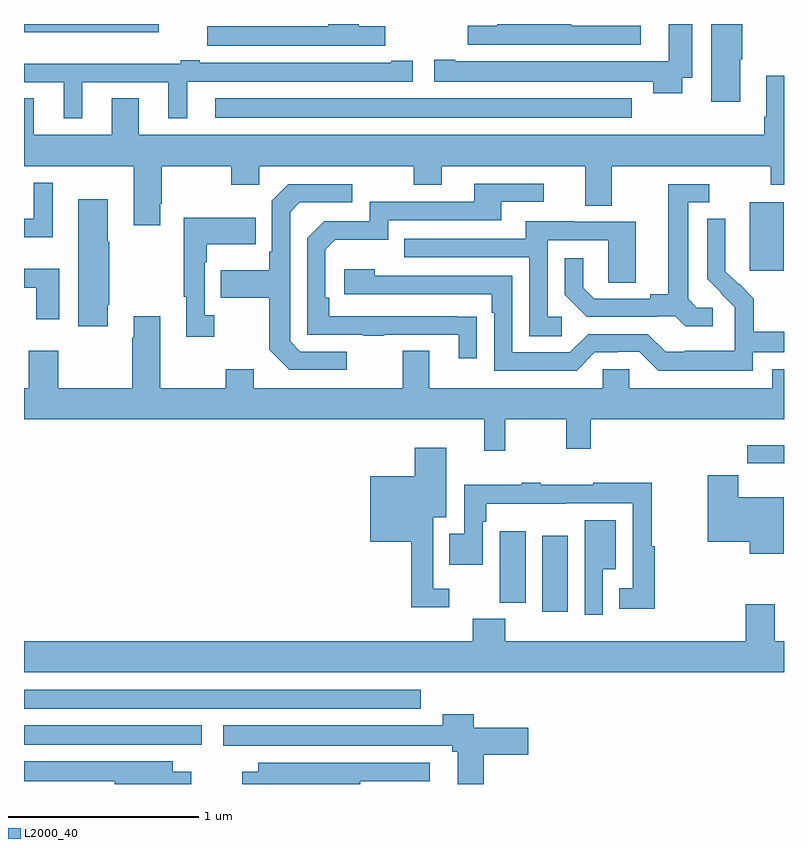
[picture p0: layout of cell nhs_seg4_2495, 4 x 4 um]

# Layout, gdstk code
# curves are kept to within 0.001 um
import gdstk
lib = gdstk.Library(unit=1e-6, precision=1e-09)
def R(c, l, rs):  # rectangles x0, y0, x1, y1
    for r in rs: c.add(gdstk.rectangle(r[:2], r[2:], *l))
def P(c, l, *ps):  # polygons
    for p in ps: c.add(gdstk.Polygon(p, *l))
L2000_40 = (2000, 40)

nhs_seg4_2495 = lib.new_cell('nhs_seg4_2495')
R(nhs_seg4_2495, L2000_40, [(241,795.107,241.936,795.208), (241,795.296,243.088,795.397), (243.728,795.807,243.862,796.207), (243.503,795.854,243.64,796.231), (244.82,797.601,244.999,797.962), (242.007,798.407,244.198,798.508), (241,798.857,241.708,798.9)])
P(nhs_seg4_2495, L2000_40, [(244.465,798.617),(244.516,798.617),(244.516,798.9),(244.394,798.9),(244.394,798.703),(243.271,798.703),(243.271,798.711),(243.159,798.711),(243.159,798.596),(244.313,798.596),(244.313,798.536),(244.465,798.536)],
  [(244.771,798.715),(244.779,798.715),(244.779,798.9),(244.616,798.9),(244.616,798.492),(244.771,798.492)],
  [(244.246,798.891),(243.881,798.891),(243.881,798.9),(243.492,798.9),(243.492,798.891),(243.336,798.891),(243.336,798.792),(244.246,798.792)],
  [(242.902,798.889),(242.762,798.889),(242.762,798.9),(242.6,798.9),(242.6,798.889),(241.965,798.889),(241.965,798.785),(242.902,798.785)],
  [(241.306,798.594),(241.76,798.594),(241.76,798.405),(241.858,798.405),(241.858,798.596),(243.046,798.596),(243.046,798.707),(242.933,798.707),(242.933,798.697),(241.924,798.697),(241.924,798.71),(241.824,798.71),(241.824,798.691),(241,798.691),(241,798.594),(241.208,798.594),(241.208,798.405),(241.306,798.405)],
  [(241.717,797.953),(241.725,797.953),(241.725,798.152),(242.092,798.152),(242.092,798.053),(242.238,798.053),(242.238,798.152),(243.052,798.152),(243.052,798.053),(243.199,798.053),(243.199,798.152),(243.953,798.152),(243.953,797.944),(244.093,797.944),(244.093,798.152),(244.93,798.152),(244.93,798.053),(245,798.053),(245,798.628),(244.907,798.628),(244.907,798.412),(244.895,798.412),(244.895,798.316),(241.603,798.316),(241.603,798.509),(241.463,798.509),(241.463,798.316),(241.051,798.316),(241.051,798.509),(241,798.509),(241,798.152),(241.577,798.152),(241.577,797.841),(241.717,797.841)],
  [(241.15,798.064),(241.052,798.064),(241.052,797.874),(241,797.874),(241,797.777),(241.15,797.777)],
  [(243.383,797.36),(242.606,797.361),(242.606,797.458),(242.586,797.458),(242.586,797.712),(242.639,797.765),(242.916,797.765),(242.916,797.868),(243.511,797.868),(243.511,797.964),(243.736,797.964),(243.736,798.06),(243.371,798.06),(243.371,797.964),(242.82,797.964),(242.82,797.862),(242.58,797.862),(242.49,797.772),(242.49,797.265),(242.785,797.265),(242.785,797.26),(242.897,797.26),(242.897,797.265),(243.287,797.265),(243.287,797.142),(243.383,797.142)],
  [(244.624,797.406),(244.542,797.406),(244.495,797.453),(244.495,797.961),(244.606,797.961),(244.606,798.057),(244.391,798.057),(244.391,797.477),(244.295,797.477),(244.295,797.454),(244,797.454),(243.943,797.511),(243.943,797.668),(243.846,797.668),(243.846,797.474),(243.962,797.358),(244.334,797.358),(244.334,797.361),(244.428,797.361),(244.48,797.309),(244.624,797.309)],
  [(242.698,797.175),(242.454,797.175),(242.4,797.229),(242.4,797.91),(242.451,797.961),(242.728,797.961),(242.728,798.057),(242.391,798.057),(242.304,797.97),(242.304,797.701),(242.292,797.701),(242.292,797.605),(242.035,797.605),(242.035,797.458),(242.292,797.458),(242.292,797.185),(242.397,797.079),(242.698,797.079)],
  [(241.441,797.422),(241.449,797.422),(241.449,797.753),(241.441,797.753),(241.441,797.977),(241.286,797.977),(241.286,797.31),(241.441,797.31)],
  [(242.002,797.366),(241.95,797.366),(241.95,797.645),(241.963,797.645),(241.963,797.741),(242.219,797.741),(242.219,797.881),(241.842,797.881),(241.842,797.465),(241.853,797.465),(241.853,797.253),(242.002,797.253)],
  [(244.836,797.172),(245,797.172),(245,797.281),(244.841,797.281),(244.841,797.455),(244.764,797.532),(244.761,797.529),(244.691,797.6),(244.692,797.876),(244.596,797.876),(244.596,797.558),(244.742,797.41),(244.742,797.313),(244.74,797.313),(244.74,797.179),(244.477,797.179),(244.477,797.175),(244.377,797.175),(244.284,797.268),(243.969,797.268),(243.873,797.172),(243.57,797.172),(243.57,797.574),(242.846,797.574),(242.846,797.608),(242.685,797.608),(242.685,797.478),(243.461,797.478),(243.461,797.381),(243.474,797.381),(243.474,797.076),(243.909,797.076),(244.005,797.172),(244.124,797.172),(244.124,797.175),(244.239,797.175),(244.339,797.075),(244.836,797.075)],
  [(243.829,797.358),(243.756,797.358),(243.756,797.763),(244.074,797.763),(244.074,797.539),(244.219,797.539),(244.219,797.859),(243.895,797.859),(243.895,797.863),(243.641,797.863),(243.641,797.769),(243.001,797.769),(243.001,797.673),(243.66,797.673),(243.66,797.257),(243.829,797.257)],
  [(241.186,797.611),(241,797.611),(241,797.513),(241.064,797.513),(241.064,797.346),(241.186,797.346)],
  [(243.532,796.82),(243.855,796.82),(243.855,796.665),(243.983,796.665),(243.983,796.82),(245,796.82),(245,797.083),(244.937,797.083),(244.937,796.984),(244.185,796.984),(244.185,797.082),(244.047,797.082),(244.047,796.984),(243.133,796.984),(243.133,797.179),(242.993,797.179),(242.993,796.984),(242.209,796.984),(242.209,797.083),(242.062,797.083),(242.062,796.984),(241.717,796.984),(241.717,797.362),(241.577,797.362),(241.577,797.249),(241.57,797.249),(241.57,796.984),(241.179,796.984),(241.179,797.179),(241.024,797.179),(241.024,796.984),(241,796.984),(241,796.82),(243.422,796.82),(243.422,796.653),(243.532,796.653)],
  [(245,796.684),(244.806,796.684),(244.806,796.589),(244.915,796.589),(244.915,796.587),(245,796.587)],
  [(243.238,795.927),(243.153,795.927),(243.153,796.304),(243.223,796.304),(243.223,796.669),(243.056,796.669),(243.056,796.519),(242.822,796.519),(242.822,796.175),(243.037,796.175),(243.037,795.83),(243.238,795.83)],
  [(244.999,796.408),(244.759,796.408),(244.759,796.524),(244.598,796.524),(244.598,796.175),(244.82,796.175),(244.82,796.112),(244.999,796.112)],
  [(244.319,796.152),(244.304,796.152),(244.304,796.486),(243.996,796.486),(243.996,796.475),(243.721,796.475),(243.721,796.486),(243.621,796.486),(243.621,796.474),(243.318,796.474),(243.318,796.216),(243.238,796.216),(243.238,796.053),(243.414,796.053),(243.414,796.28),(243.434,796.28),(243.434,796.376),(243.854,796.376),(243.854,796.377),(244.203,796.377),(244.203,795.931),(244.132,795.931),(244.132,795.822),(244.319,795.822)],
  [(244.047,796.031),(244.114,796.031),(244.114,796.288),(243.951,796.288),(243.951,795.792),(244.047,795.792)],
  [(243.362,795.769),(243.362,795.652),(241,795.652),(241,795.488),(245,795.488),(245,795.652),(244.951,795.652),(244.951,795.847),(244.799,795.847),(244.799,795.652),(243.532,795.652),(243.532,795.769)],
  [(243.419,795.053),(243.655,795.053),(243.655,795.195),(243.368,795.195),(243.368,795.268),(243.203,795.268),(243.203,795.208),(242.049,795.208),(242.049,795.101),(243.254,795.101),(243.254,795.069),(243.284,795.069),(243.284,794.9),(243.419,794.9)],
  [(241.879,794.965),(241.783,794.965),(241.783,795.019),(241,795.019),(241,794.915),(241.478,794.915),(241.478,794.9),(241.879,794.9)],
  [(242.771,794.914),(243.136,794.914),(243.136,795.012),(242.604,795.012),(242.604,795.013),(242.234,795.013),(242.234,794.965),(242.148,794.965),(242.148,794.9),(242.771,794.9)])

lib.write_gds('nhs_seg4_2495.gds')
